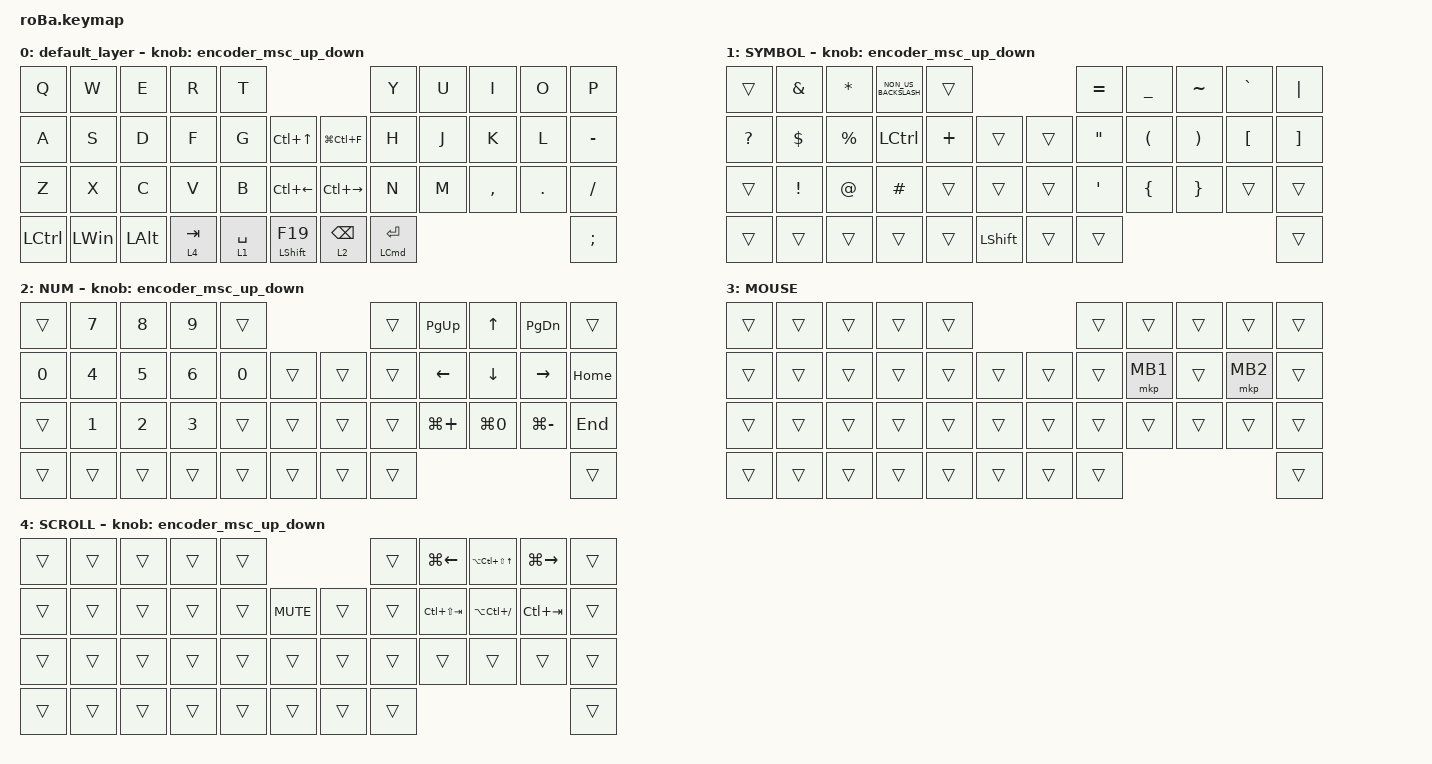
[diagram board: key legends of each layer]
#include <input/processors.dtsi>
#include <behaviors.dtsi>
#include <dt-bindings/zmk/keys.h>
#include <dt-bindings/zmk/pointing.h>

#define ZMK_POINTING_DEFAULT_SCRL_VAL 80

&mt {
    flavor = "balanced";
    quick-tap-ms = <0>;
};

&trackball {
    scroll-layers = <4>;

    zoom {
        layers = <1>;
        bindings = <&none>, <&none>, <&kp LG(PLUS)>, <&kp LG(MINUS)>;

        tick = <10>;
        wait-ms = <30>;
        tap-ms = <30>;
    };
};

&zip_temp_layer {
    require-prior-idle-ms = <200>;
    excluded-positions = <
        15
        18
        20
    >;
};

&trackball_listener { input-processors = <&zip_temp_layer 3 10000>; };

&mkp_input_listener { input-processors = <&zip_temp_layer 3 10000>; };

/ {
    combos {
        compatible = "zmk,combos";

        pair_parens {
            bindings = <&pair_parens>;
            key-positions = <18 19>;
            layers = <1>;
        };

        pair_branckets {
            bindings = <&pair_brackets>;
            key-positions = <20 21>;
            layers = <1>;
        };

        pair_braces {
            bindings = <&pair_braces>;
            key-positions = <30 31>;
            layers = <1>;
        };

        pair_angles {
            bindings = <&pair_angles>;
            key-positions = <32 33>;
            layers = <1>;
        };

        pair_graves {
            bindings = <&pair_graves>;
            key-positions = <7 8>;
            layers = <1>;
        };

        pair_dquotes {
            bindings = <&pair_dquotes>;
            key-positions = <17 18>;
            layers = <1>;
        };

        pair_squotes {
            bindings = <&pair_squotes>;
            key-positions = <29 30>;
        };

        j {
            bindings = <&kp J>;
            key-positions = <18 19>;
            layers = <0>;
        };

        l {
            bindings = <&kp L>;
            key-positions = <19 20>;
        };
    };

    macros {
        pair_parens: pair_parens {
            compatible = "zmk,behavior-macro";
            label = "PAIR_PARENS";
            #binding-cells = <0>;
            wait-ms = <30>;
            tap-ms = <30>;
            bindings = <&kp LEFT_PARENTHESIS &kp RIGHT_PARENTHESIS &kp LEFT_ARROW>;
        };

        pair_brackets: pair_brackets {
            compatible = "zmk,behavior-macro";
            label = "PAIR_BRACKETS";
            #binding-cells = <0>;
            wait-ms = <30>;
            tap-ms = <30>;
            bindings = <&kp LEFT_BRACKET &kp RIGHT_BRACKET &kp LEFT_ARROW>;
        };

        pair_braces: pair_braces {
            compatible = "zmk,behavior-macro";
            label = "PAIR_BRACES";
            #binding-cells = <0>;
            wait-ms = <30>;
            tap-ms = <30>;
            bindings = <&kp LEFT_BRACE &kp RIGHT_BRACE &kp LEFT_ARROW>;
        };

        pair_angles: pair_angles {
            compatible = "zmk,behavior-macro";
            label = "PAIR_ANGLES";
            #binding-cells = <0>;
            wait-ms = <30>;
            tap-ms = <30>;
            bindings = <&kp LESS_THAN &kp GREATER_THAN &kp LEFT_ARROW>;
        };

        pair_graves: pair_graves {
            compatible = "zmk,behavior-macro";
            label = "PAIR_GRAVES";
            #binding-cells = <0>;
            wait-ms = <30>;
            tap-ms = <30>;
            bindings = <&kp GRAVE &kp GRAVE &kp LEFT_ARROW>;
        };

        pair_dquotes: pair_dquotes {
            compatible = "zmk,behavior-macro";
            label = "PAIR_DQUOTES";
            #binding-cells = <0>;
            wait-ms = <30>;
            tap-ms = <30>;
            bindings = <&kp DOUBLE_QUOTES &kp DOUBLE_QUOTES &kp LEFT_ARROW>;
        };

        pair_squotes: pair_squotes {
            compatible = "zmk,behavior-macro";
            label = "PAIR_SQUOTES";
            #binding-cells = <0>;
            wait-ms = <30>;
            tap-ms = <30>;
            bindings = <&kp SQT &kp SQT &kp LEFT_ARROW>;
        };
    };

    behaviors {
        encoder_msc_up_down: encoder_msc_up_down {
            compatible = "zmk,behavior-sensor-rotate";
            label = "ENCODER_MSC_UP_DOWN";
            #sensor-binding-cells = <0>;
            bindings = <&msc SCRL_UP>, <&msc SCRL_DOWN>;

            tap-ms = <20>;
        };
    };

    keymap {
        compatible = "zmk,keymap";

        default_layer {
            bindings = <
&kp Q      &kp W         &kp E         &kp R      &kp T                                                     &kp Y                   &kp U  &kp I      &kp O    &kp P
&kp A      &kp S         &kp D         &kp F      &kp G        &kp LC(UP_ARROW)        &kp LG(LC(F))        &kp H                   &kp J  &kp K      &kp L    &kp MINUS
&kp Z      &kp X         &kp C         &kp V      &kp B        &kp LC(LEFT_ARROW)      &kp LC(RIGHT_ARROW)  &kp N                   &kp M  &kp COMMA  &kp DOT  &kp SLASH
&kp LCTRL  &kp LEFT_WIN  &kp LEFT_ALT  &lt 4 TAB  &lt 1 SPACE  &mt LSHIFT F19          &lt 2 BACKSPACE      &mt LEFT_COMMAND ENTER                             &kp SEMICOLON
            >;

            sensor-bindings = <&encoder_msc_up_down>;
        };

        SYMBOL {
            bindings = <
&trans        &kp AMPERSAND    &kp ASTERISK  &kp NON_US_BACKSLASH  &trans                                &kp EQUAL          &kp UNDERSCORE        &kp TILDE              &kp GRAVE         &kp PIPE
&kp QUESTION  &kp DOLLAR       &kp PERCENT   &kp LCTRL             &kp PLUS  &trans              &trans  &kp DOUBLE_QUOTES  &kp LEFT_PARENTHESIS  &kp RIGHT_PARENTHESIS  &kp LEFT_BRACKET  &kp RIGHT_BRACKET
&trans        &kp EXCLAMATION  &kp AT_SIGN   &kp HASH              &trans    &trans              &trans  &kp SQT            &kp LEFT_BRACE        &kp RIGHT_BRACE        &trans            &trans
&trans        &trans           &trans        &trans                &trans    &kp LEFT_SHIFT      &trans  &trans                                                                            &trans
            >;

            sensor-bindings = <&encoder_msc_up_down>;
        };

        NUM {
            bindings = <
&trans        &kp NUMBER_7  &kp NUMBER_8  &kp NUMBER_9  &trans                            &trans  &kp PAGE_UP   &kp UP_ARROW    &kp PAGE_DOWN  &trans
&kp NUMBER_0  &kp NUMBER_4  &kp N5        &kp NUMBER_6  &kp NUMBER_0  &trans      &trans  &trans  &kp LEFT      &kp DOWN_ARROW  &kp RIGHT      &kp HOME
&trans        &kp NUMBER_1  &kp NUMBER_2  &kp NUMBER_3  &trans        &trans      &trans  &trans  &kp LG(PLUS)  &kp LG(N0)      &kp LG(MINUS)  &kp END
&trans        &trans        &trans        &trans        &trans        &trans      &trans  &trans                                               &trans
            >;

            sensor-bindings = <&encoder_msc_up_down>;
        };

        MOUSE {
            bindings = <
&trans  &trans  &trans  &trans  &trans                      &trans  &trans    &trans  &trans    &trans
&trans  &trans  &trans  &trans  &trans  &trans      &trans  &trans  &mkp MB1  &trans  &mkp MB2  &trans
&trans  &trans  &trans  &trans  &trans  &trans      &trans  &trans  &trans    &trans  &trans    &trans
&trans  &trans  &trans  &trans  &trans  &trans      &trans  &trans                              &trans
            >;
        };

        SCROLL {
            bindings = <
&trans  &trans  &trans  &trans  &trans                          &trans  &kp LG(LEFT)     &kp LA(LC(LS(UP_ARROW)))  &kp LG(RIGHT)  &trans
&trans  &trans  &trans  &trans  &trans  &kp C_MUTE      &trans  &trans  &kp LC(LS(TAB))  &kp LA(LC(SLASH))         &kp LC(TAB)    &trans
&trans  &trans  &trans  &trans  &trans  &trans          &trans  &trans  &trans           &trans                    &trans         &trans
&trans  &trans  &trans  &trans  &trans  &trans          &trans  &trans                                                            &trans
            >;

            sensor-bindings = <&encoder_msc_up_down>;
        };
    };
};
